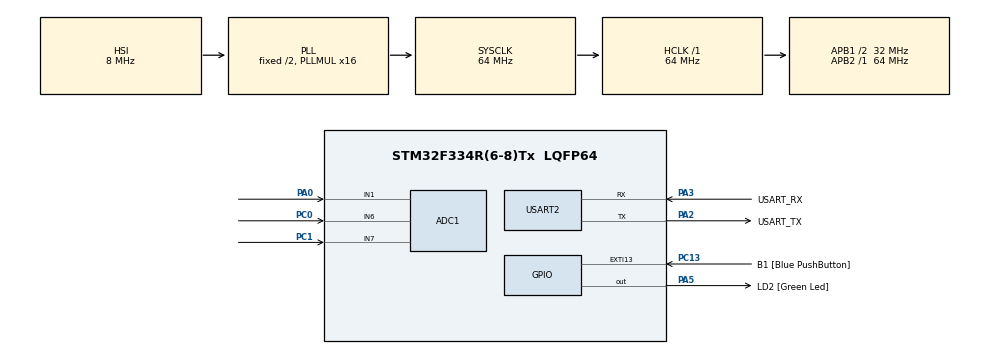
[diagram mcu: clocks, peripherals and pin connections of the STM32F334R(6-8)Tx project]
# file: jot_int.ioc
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ADC1.Channel-0\#ChannelRegularConversion=ADC_CHANNEL_1
ADC1.Channel-1\#ChannelRegularConversion=ADC_CHANNEL_6
ADC1.Channel-2\#ChannelRegularConversion=ADC_CHANNEL_7
ADC1.ClockPrescaler=ADC_CLOCK_SYNC_PCLK_DIV4
ADC1.ContinuousConvMode=DISABLE
ADC1.DiscontinuousConvMode=ENABLE
ADC1.NbrOfConversion=3
ADC1.NbrOfConversionFlag=1
ADC1.Offset-0\#ChannelRegularConversion=0
ADC1.Offset-1\#ChannelRegularConversion=0
ADC1.Offset-2\#ChannelRegularConversion=0
ADC1.OffsetNumber-0\#ChannelRegularConversion=ADC_OFFSET_NONE
ADC1.OffsetNumber-1\#ChannelRegularConversion=ADC_OFFSET_NONE
ADC1.OffsetNumber-2\#ChannelRegularConversion=ADC_OFFSET_NONE
ADC1.Rank-0\#ChannelRegularConversion=1
ADC1.Rank-1\#ChannelRegularConversion=2
ADC1.Rank-2\#ChannelRegularConversion=3
ADC1.SamplingTime-0\#ChannelRegularConversion=ADC_SAMPLETIME_61CYCLES_5
ADC1.SamplingTime-1\#ChannelRegularConversion=ADC_SAMPLETIME_61CYCLES_5
ADC1.SamplingTime-2\#ChannelRegularConversion=ADC_SAMPLETIME_61CYCLES_5
ADC1.SamplingTimeOPAMP-1\#ChannelRegularConversion=ADC_SAMPLETIME_7CYCLES_5
ADC1.SamplingTimeOPAMP-2\#ChannelRegularConversion=ADC_SAMPLETIME_7CYCLES_5
ADC1.master=1
Mcu.Family=STM32F3
Mcu.Name=STM32F334R(6-8)Tx
Mcu.Package=LQFP64
NVIC.ADC1_2_IRQn=true\:0\:0\:false\:false\:true\:true\:true\:true
NVIC.PriorityGroup=NVIC_PRIORITYGROUP_0
PA0.Mode=IN1-Single-Ended
PA0.Signal=ADC1_IN1
PA13.GPIO_Label=TMS
PA13.Mode=Serial_Wire
PA13.Signal=SYS_JTMS-SWDIO
PA14.GPIO_Label=TCK
PA14.Mode=Serial_Wire
PA14.Signal=SYS_JTCK-SWCLK
PA2.GPIO_Label=USART_TX
PA2.Mode=Asynchronous
PA2.Signal=USART2_TX
PA3.GPIO_Label=USART_RX
PA3.Mode=Asynchronous
PA3.Signal=USART2_RX
PA5.GPIO_Label=LD2 [Green Led]
PA5.Signal=GPIO_Output
PB3.GPIO_Label=SWO
PB3.Signal=SYS_JTDO-TRACESWO
PC0.Signal=ADCx_IN6
PC1.Signal=ADCx_IN7
PC13.GPIO_Label=B1 [Blue PushButton]
PC13.GPIO_ModeDefaultEXTI=GPIO_MODE_IT_FALLING
PC13.Signal=GPXTI13
PC14\ /\ OSC32_IN.Signal=RCC_OSC32_IN
PC15\ /\ OSC32_OUT.GPIO_Label=RCC_OSC32_OUT
PC15\ /\ OSC32_OUT.Signal=RCC_OSC32_OUT
PF0\ /\ OSC_IN.Signal=RCC_OSC_IN
PF1\ /\ OSC_OUT.Signal=RCC_OSC_OUT
ProjectManager.HeapSize=0x200
ProjectManager.StackSize=0x400
ProjectManager.TargetToolchain=STM32CubeIDE
RCC.AHBFreq_Value=64000000
RCC.APB1CLKDivider=RCC_HCLK_DIV2
RCC.APB1Freq_Value=32000000
RCC.APB1TimFreq_Value=64000000
RCC.APB2Freq_Value=64000000
RCC.APB2TimFreq_Value=64000000
RCC.CortexFreq_Value=64000000
RCC.FLatency-AdvancedSettings=FLASH_LATENCY_2
RCC.HCLKFreq_Value=64000000
RCC.HSE_VALUE=8000000
RCC.HSI_VALUE=8000000
RCC.PLLMUL=RCC_PLL_MUL16
RCC.SYSCLKFreq_VALUE=64000000
RCC.SYSCLKSourceVirtual=RCC_SYSCLKSOURCE_PLLCLK
SH.ADCx_IN6.0=ADC1_IN6,IN6-Single-Ended
SH.ADCx_IN7.0=ADC1_IN7,IN7-Single-Ended
USART2.VirtualMode-Asynchronous=VM_ASYNC
board=NUCLEO-F334R8

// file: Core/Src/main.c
/* USER CODE BEGIN Header */
/**
  ******************************************************************************
  * @file           : main.c
  * @brief          : Main program body
  ******************************************************************************
  * @attention
  *
  * Copyright (c) 2022 STMicroelectronics.
  * All rights reserved.
  *
  * This software is licensed under terms that can be found in the LICENSE file
  * in the root directory of this software component.
  * If no LICENSE file comes with this software, it is provided AS-IS.
  *
  ******************************************************************************
  */
/* USER CODE END Header */
#include "main.h"

/* USER CODE BEGIN Includes */
#include "stdio.h"
/* USER CODE END Includes */

/* USER CODE BEGIN PD */
 uint16_t AC[3] = {0, };
 uint16_t x,y,sw = 0;
 uint8_t adcIndex = 0;
/* USER CODE END PD */

ADC_HandleTypeDef hadc1;

UART_HandleTypeDef huart2;

void SystemClock_Config(void);
static void MX_GPIO_Init(void);
static void MX_USART2_UART_Init(void);
static void MX_ADC1_Init(void);

/* USER CODE BEGIN 0 */
#ifdef __GNUC__
/* With GCC, small printf (option LD Linker->Libraries->Small printf
set to 'Yes') calls __io_putchar() */
#define PUTCHAR_PROTOTYPE int __io_putchar(int ch)
#else
#define PUTCHAR_PROTOTYPE int fputc(int ch, FILE *f)
#endif /* __GNUC__ */
/**
* @brief Retargets the C library printf function to the USART.
* @param None
* @retval None
*/
PUTCHAR_PROTOTYPE
{
/* Place your implementation of fputc here */
/* e.g. write a character to the USART1 and Loop until the end of transmission */
if (ch == '\n')
HAL_UART_Transmit (&huart2, (uint8_t*) "\r", 1, 0xFFFF);
HAL_UART_Transmit (&huart2, (uint8_t*) &ch, 1, 0xFFFF);
return ch;
}
/* USER CODE END 0 */

int main(void)
{

  /* MCU Configuration--------------------------------------------------------*/

  /* Reset of all peripherals, Initializes the Flash interface and the Systick. */
  HAL_Init();

  /* Configure the system clock */
  SystemClock_Config();

  /* Initialize all configured peripherals */
  MX_GPIO_Init();
  MX_USART2_UART_Init();
  MX_ADC1_Init();
  /* USER CODE BEGIN 2 */
  if( HAL_ADCEx_Calibration_Start(&hadc1, ADC_CHANNEL_1) != HAL_OK ){
    Error_Handler();
    }
    if( HAL_ADCEx_Calibration_Start(&hadc1, ADC_CHANNEL_6) != HAL_OK ){
    Error_Handler();
    }
    if( HAL_ADCEx_Calibration_Start(&hadc1, ADC_CHANNEL_7) != HAL_OK ){
    Error_Handler();
    }

    HAL_ADC_Start_IT(&hadc1);
  /* USER CODE END 2 */

  /* Infinite loop */
  /* USER CODE BEGIN WHILE */
  while (1)
  {

	  printf ("%4d, %4d, %4d \n", x, y, sw);

    /* USER CODE END WHILE */

  }
}

void SystemClock_Config(void)
{
  RCC_OscInitTypeDef RCC_OscInitStruct = {0};
  RCC_ClkInitTypeDef RCC_ClkInitStruct = {0};

  /** Initializes the RCC Oscillators according to the specified parameters
  * in the RCC_OscInitTypeDef structure.
  */
  RCC_OscInitStruct.OscillatorType = RCC_OSCILLATORTYPE_HSI;
  RCC_OscInitStruct.HSIState = RCC_HSI_ON;
  RCC_OscInitStruct.HSICalibrationValue = RCC_HSICALIBRATION_DEFAULT;
  RCC_OscInitStruct.PLL.PLLState = RCC_PLL_ON;
  RCC_OscInitStruct.PLL.PLLSource = RCC_PLLSOURCE_HSI;
  RCC_OscInitStruct.PLL.PLLMUL = RCC_PLL_MUL16;
  if (HAL_RCC_OscConfig(&RCC_OscInitStruct) != HAL_OK)
  {
    Error_Handler();
  }

  /** Initializes the CPU, AHB and APB buses clocks
  */
  RCC_ClkInitStruct.ClockType = RCC_CLOCKTYPE_HCLK|RCC_CLOCKTYPE_SYSCLK
                              |RCC_CLOCKTYPE_PCLK1|RCC_CLOCKTYPE_PCLK2;
  RCC_ClkInitStruct.SYSCLKSource = RCC_SYSCLKSOURCE_PLLCLK;
  RCC_ClkInitStruct.AHBCLKDivider = RCC_SYSCLK_DIV1;
  RCC_ClkInitStruct.APB1CLKDivider = RCC_HCLK_DIV2;
  RCC_ClkInitStruct.APB2CLKDivider = RCC_HCLK_DIV1;

  if (HAL_RCC_ClockConfig(&RCC_ClkInitStruct, FLASH_LATENCY_2) != HAL_OK)
  {
    Error_Handler();
  }
}

static void MX_ADC1_Init(void)
{

  ADC_MultiModeTypeDef multimode = {0};
  ADC_ChannelConfTypeDef sConfig = {0};

  /** Common config
  */
  hadc1.Instance = ADC1;
  hadc1.Init.ClockPrescaler = ADC_CLOCK_SYNC_PCLK_DIV4;
  hadc1.Init.Resolution = ADC_RESOLUTION_12B;
  hadc1.Init.ScanConvMode = ADC_SCAN_ENABLE;
  hadc1.Init.ContinuousConvMode = DISABLE;
  hadc1.Init.DiscontinuousConvMode = ENABLE;
  hadc1.Init.NbrOfDiscConversion = 1;
  hadc1.Init.ExternalTrigConvEdge = ADC_EXTERNALTRIGCONVEDGE_NONE;
  hadc1.Init.ExternalTrigConv = ADC_SOFTWARE_START;
  hadc1.Init.DataAlign = ADC_DATAALIGN_RIGHT;
  hadc1.Init.NbrOfConversion = 3;
  hadc1.Init.DMAContinuousRequests = DISABLE;
  hadc1.Init.EOCSelection = ADC_EOC_SINGLE_CONV;
  hadc1.Init.LowPowerAutoWait = DISABLE;
  hadc1.Init.Overrun = ADC_OVR_DATA_OVERWRITTEN;
  if (HAL_ADC_Init(&hadc1) != HAL_OK)
  {
    Error_Handler();
  }

  /** Configure the ADC multi-mode
  */
  multimode.Mode = ADC_MODE_INDEPENDENT;
  if (HAL_ADCEx_MultiModeConfigChannel(&hadc1, &multimode) != HAL_OK)
  {
    Error_Handler();
  }

  /** Configure Regular Channel
  */
  sConfig.Channel = ADC_CHANNEL_1;
  sConfig.Rank = ADC_REGULAR_RANK_1;
  sConfig.SingleDiff = ADC_SINGLE_ENDED;
  sConfig.SamplingTime = ADC_SAMPLETIME_61CYCLES_5;
  sConfig.OffsetNumber = ADC_OFFSET_NONE;
  sConfig.Offset = 0;
  if (HAL_ADC_ConfigChannel(&hadc1, &sConfig) != HAL_OK)
  {
    Error_Handler();
  }

  /** Configure Regular Channel
  */
  sConfig.Channel = ADC_CHANNEL_6;
  sConfig.Rank = ADC_REGULAR_RANK_2;
  if (HAL_ADC_ConfigChannel(&hadc1, &sConfig) != HAL_OK)
  {
    Error_Handler();
  }

  /** Configure Regular Channel
  */
  sConfig.Channel = ADC_CHANNEL_7;
  sConfig.Rank = ADC_REGULAR_RANK_3;
  if (HAL_ADC_ConfigChannel(&hadc1, &sConfig) != HAL_OK)
  {
    Error_Handler();
  }

}

static void MX_USART2_UART_Init(void)
{

  huart2.Instance = USART2;
  huart2.Init.BaudRate = 38400;
  huart2.Init.WordLength = UART_WORDLENGTH_8B;
  huart2.Init.StopBits = UART_STOPBITS_1;
  huart2.Init.Parity = UART_PARITY_NONE;
  huart2.Init.Mode = UART_MODE_TX_RX;
  huart2.Init.HwFlowCtl = UART_HWCONTROL_NONE;
  huart2.Init.OverSampling = UART_OVERSAMPLING_16;
  huart2.Init.OneBitSampling = UART_ONE_BIT_SAMPLE_DISABLE;
  huart2.AdvancedInit.AdvFeatureInit = UART_ADVFEATURE_NO_INIT;
  if (HAL_UART_Init(&huart2) != HAL_OK)
  {
    Error_Handler();
  }

}

static void MX_GPIO_Init(void)
{
  GPIO_InitTypeDef GPIO_InitStruct = {0};

  /* GPIO Ports Clock Enable */
  __HAL_RCC_GPIOC_CLK_ENABLE();
  __HAL_RCC_GPIOF_CLK_ENABLE();
  __HAL_RCC_GPIOA_CLK_ENABLE();
  __HAL_RCC_GPIOB_CLK_ENABLE();

  /*Configure GPIO pin Output Level */
  HAL_GPIO_WritePin(LD2_GPIO_Port, LD2_Pin, GPIO_PIN_RESET);

  /*Configure GPIO pin : B1_Pin */
  GPIO_InitStruct.Pin = B1_Pin;
  GPIO_InitStruct.Mode = GPIO_MODE_IT_FALLING;
  GPIO_InitStruct.Pull = GPIO_NOPULL;
  HAL_GPIO_Init(B1_GPIO_Port, &GPIO_InitStruct);

  /*Configure GPIO pin : LD2_Pin */
  GPIO_InitStruct.Pin = LD2_Pin;
  GPIO_InitStruct.Mode = GPIO_MODE_OUTPUT_PP;
  GPIO_InitStruct.Pull = GPIO_NOPULL;
  GPIO_InitStruct.Speed = GPIO_SPEED_FREQ_LOW;
  HAL_GPIO_Init(LD2_GPIO_Port, &GPIO_InitStruct);

}

/* USER CODE BEGIN 4 */
void HAL_ADC_ConvCpltCallback(ADC_HandleTypeDef* hadc) {

AC[adcIndex] = HAL_ADC_GetValue(&hadc1);

if(adcIndex == 2) {

    x = AC[0];
    y = AC[1];
    sw = AC[2];

    if(sw <50) sw = 0;
    else sw = 5000;

   // printf ("%4d, %4d, %4d \n", x, y, sw);

}

	adcIndex++;

	if(adcIndex > 2) adcIndex = 0;

	HAL_ADC_Start_IT(&hadc1);
}
/* USER CODE END 4 */

void Error_Handler(void)
{
  __disable_irq();
  while (1)
  {
  }
}
